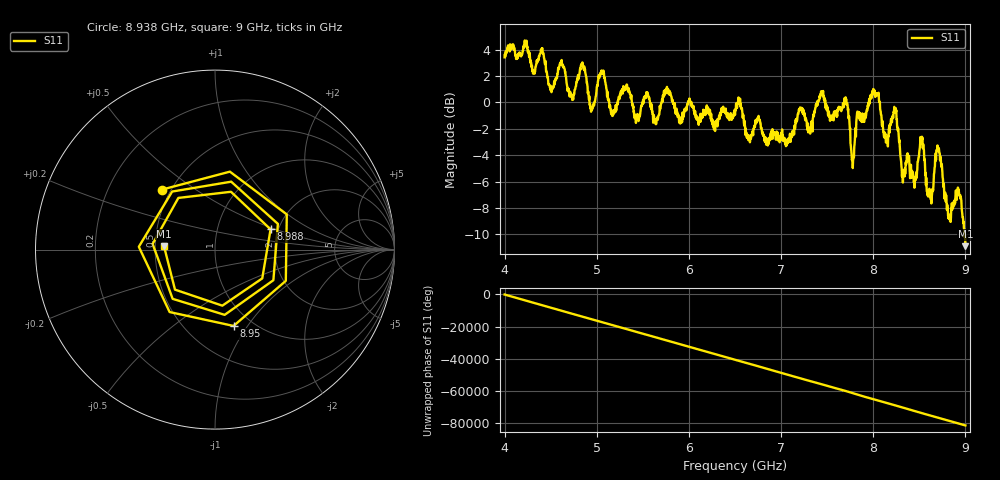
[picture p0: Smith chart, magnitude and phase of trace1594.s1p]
! Created with skrf 1.8.0 (http://scikit-rf.org).
# Hz S RI R 50.0
!freq ReS11 ImS11
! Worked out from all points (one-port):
!   1601 points, 4 GHz to 9 GHz, reference 50 ohm
!   lowest |S11| = -10.9 dB at 9 GHz (marker M1), VSWR 1.80, Z = 27.8 + j1.26 ohm
!   |S11| at or under -10 dB: 8.989855 GHz to end of sweep
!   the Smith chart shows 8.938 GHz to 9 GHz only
!   S11 on the Smith chart (normalised r, x): 8.938 GHz: 0.45, +0.37; 8.95 GHz: 0.82, -0.86; 8.988 GHz: 1.82, +0.46; 9 GHz: 0.56, +0.03
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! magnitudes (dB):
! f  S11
! 4 GHz  3.4
! 4.406 GHz  4.0
! 4.509 GHz  0.8
! 4.625 GHz  2.9
! 4.728 GHz  0.5
! 4.853 GHz  2.7
! 4.947 GHz  -0.5
! 5.053 GHz  2.2
! 5.162 GHz  -0.8
! 5.25 GHz  0.5
! 5.875 GHz  -0.9
! 6.5 GHz  -0.9
! 7.125 GHz  -2.2
! 7.444 GHz  0.7
! 7.703 GHz  0.0
! 7.75 GHz  -2.0
! 8.016 GHz  0.9
! 8.134 GHz  -2.7
! 8.375 GHz  -4.0
! 8.453 GHz  -5.7
! 8.528 GHz  -2.6
! 8.612 GHz  -6.8
! 8.703 GHz  -3.6
! 8.819 GHz  -8.5
! 8.938 GHz  -7.0
! 8.95 GHz  -7.2
! 8.988 GHz  -9.6
! 9 GHz  -10.9
